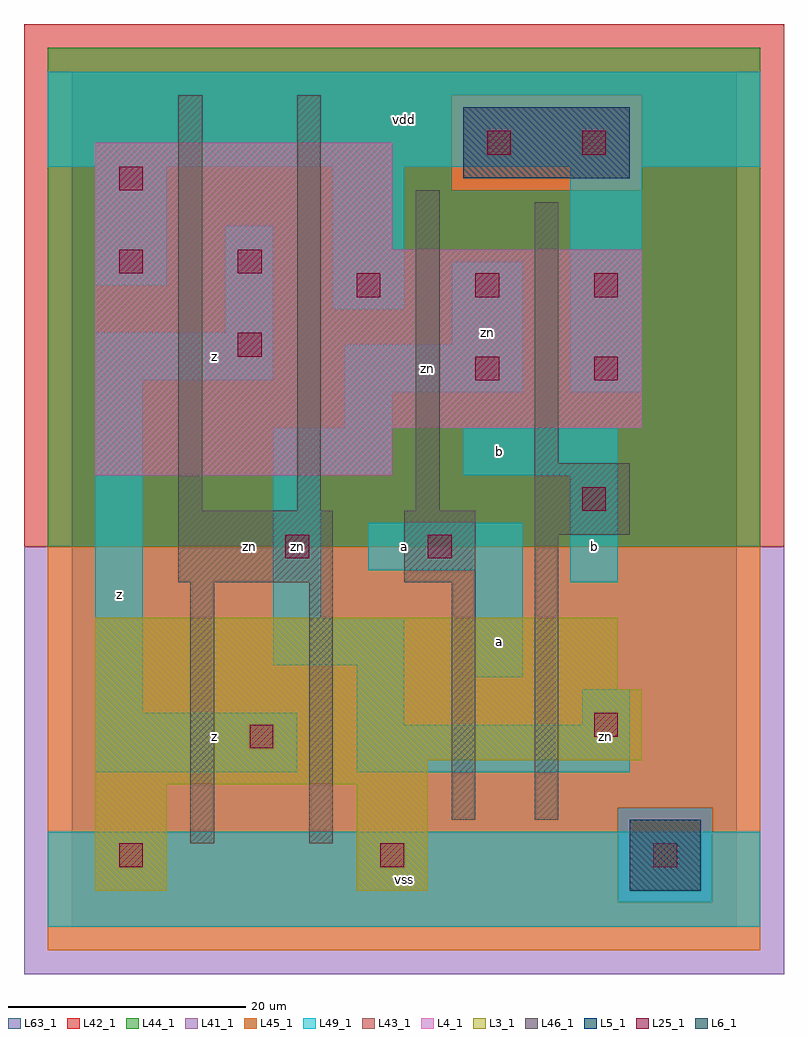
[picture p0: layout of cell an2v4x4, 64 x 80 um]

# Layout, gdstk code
import gdstk
lib = gdstk.Library(unit=1e-6, precision=1e-09)
def R(c, l, rs):  # rectangles x0, y0, x1, y1
    for r in rs: c.add(gdstk.rectangle(r[:2], r[2:], *l))
def A(c, l, x, y, w, h, nx, ny, dx, dy):  # array of equal rectangles
    R(c, l, [(x+i*dx, y+j*dy, x+i*dx+w, y+j*dy+h) for i in range(nx) for j in range(ny)])
L3_1 = (3, 1)
L4_1 = (4, 1)
L5_1 = (5, 1)
L6_1 = (6, 1)
L25_1 = (25, 1)
L41_1 = (41, 1)
L42_1 = (42, 1)
L43_1 = (43, 1)
L44_1 = (44, 1)
L45_1 = (45, 1)
L46_1 = (46, 1)
L49_1 = (49, 1)
L63_1 = (63, 1)

an2v4x4 = lib.new_cell('an2v4x4')
R(an2v4x4, L3_1, [(2,3,8,12), (24,3,30,12), (2,12,30,14), (2,14,48,20), (2,20,46,26)])
R(an2v4x4, L4_1, [(2,38,27,42), (2,42,48,57), (2,57,27,66)])
R(an2v4x4, L5_1, [(33,63,47,69)])
R(an2v4x4, L6_1, [(47,3,53,9), (47,3,53,9)])
A(an2v4x4, L25_1, 24, 53, 2, 2, 3, 1, 10, 0)
R(an2v4x4, L25_1, [(4,5,6,7), (26,5,28,7), (49,5,51,7), (15,15,17,17), (44,16,46,18), (18,31,20,33), (30,31,32,33), (43,35,45,37), (34,46,36,48), (44,46,46,48), (14,48,16,50), (4,55,6,57), (14,55,16,57), (4,62,6,64), (35,65,37,67), (43,65,45,67)])
R(an2v4x4, L41_1, [(-4,-4,60,32)])
R(an2v4x4, L42_1, [(-4,32,60,76)])
R(an2v4x4, L43_1, [(2,3,8,12), (24,3,30,12), (47,3,53,9), (2,12,30,14), (2,14,48,20), (2,20,46,26), (2,38,27,42), (2,42,48,57), (2,57,27,66), (33,63,47,69)])
R(an2v4x4, L44_1, [(46,2,54,10), (-2,32,58,62), (-2,62,32,70), (48,62,58,70), (-2,70,58,74)])
R(an2v4x4, L45_1, [(-2,-2,58,2), (-2,2,46,10), (54,2,58,10), (-2,10,58,32), (32,62,48,70)])
R(an2v4x4, L46_1, [(10,7,12,29), (20,7,22,29), (32,9,34,29), (39,9,41,33), (9,29,22,35), (28,29,34,35), (39,33,47,39), (9,35,11,70), (19,35,21,70), (29,35,31,62), (39,39,41,61)])
R(an2v4x4, L49_1, [(-2,0,58,8), (2,13,19,18), (24,13,47,17), (24,17,28,22), (43,17,47,20), (2,18,6,46), (34,21,38,30), (17,22,28,26), (17,26,21,38), (42,29,46,38), (25,30,38,34), (17,38,27,42), (33,38,46,42), (23,42,27,45), (23,45,38,49), (42,45,48,64), (2,46,17,50), (32,49,38,56), (13,50,17,59), (22,52,28,64), (2,54,8,64), (-2,64,58,72)])
R(an2v4x4, L63_1, [(0,0,56,72)])
an2v4x4.add(gdstk.Label('zn', (15,32), layer=46, texttype=1))
an2v4x4.add(gdstk.Label('z', (4,28), layer=49, texttype=1))
an2v4x4.add(gdstk.Label('z', (12,16), layer=49, texttype=1))
an2v4x4.add(gdstk.Label('zn', (19,32), layer=49, texttype=1))
an2v4x4.add(gdstk.Label('z', (12,48), layer=49, texttype=1))
an2v4x4.add(gdstk.Label('vss', (28,4), layer=49, texttype=1))
an2v4x4.add(gdstk.Label('a', (28,32), layer=49, texttype=1))
an2v4x4.add(gdstk.Label('a', (36,24), layer=49, texttype=1))
an2v4x4.add(gdstk.Label('b', (36,40), layer=49, texttype=1))
an2v4x4.add(gdstk.Label('zn', (30,47), layer=49, texttype=1))
an2v4x4.add(gdstk.Label('zn', (35,50), layer=49, texttype=1))
an2v4x4.add(gdstk.Label('vdd', (28,68), layer=49, texttype=1))
an2v4x4.add(gdstk.Label('zn', (45,16), layer=49, texttype=1))
an2v4x4.add(gdstk.Label('b', (44,32), layer=49, texttype=1))

lib.write_gds('an2v4x4.gds')
